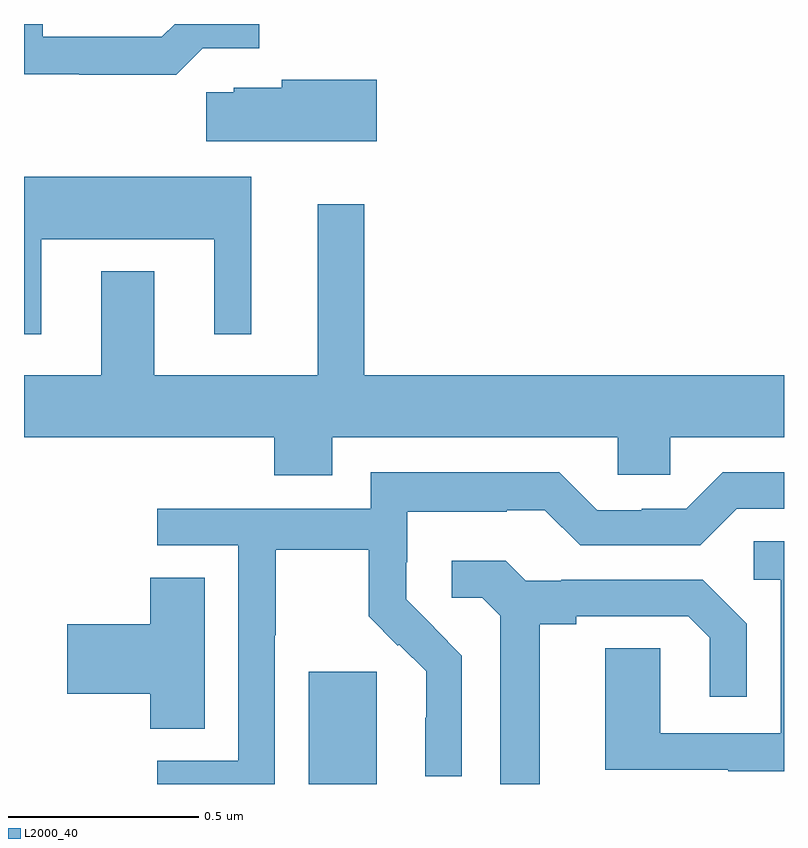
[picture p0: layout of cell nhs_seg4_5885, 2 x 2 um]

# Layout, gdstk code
import gdstk
lib = gdstk.Library(unit=1e-6, precision=1e-09)
def R(c, l, rs):  # rectangles x0, y0, x1, y1
    for r in rs: c.add(gdstk.rectangle(r[:2], r[2:], *l))
def P(c, l, *ps):  # polygons
    for p in ps: c.add(gdstk.Polygon(p, *l))
L2000_40 = (2000, 40)

nhs_seg4_5885 = lib.new_cell('nhs_seg4_5885')
R(nhs_seg4_5885, L2000_40, [(183.749,803.9,183.928,804.195)])
P(nhs_seg4_5885, L2000_40, [(183.471,805.836),(183.619,805.836),(183.619,805.9),(183.397,805.9),(183.363,805.866),(183.049,805.866),(183.049,805.9),(183,805.9),(183,805.768),(183.145,805.768),(183.145,805.766),(183.401,805.766)],
  [(183.928,805.753),(183.678,805.753),(183.678,805.732),(183.552,805.732),(183.552,805.721),(183.48,805.721),(183.48,805.592),(183.928,805.592)],
  [(183.046,805.334),(183.5,805.334),(183.5,805.083),(183.598,805.083),(183.598,805.498),(183,805.498),(183,805.083),(183.046,805.083)],
  [(183.203,805.249),(183.203,804.976),(183,804.976),(183,804.812),(183.659,804.812),(183.659,804.713),(183.811,804.713),(183.811,804.812),(184.563,804.812),(184.563,804.714),(184.701,804.714),(184.701,804.812),(185,804.812),(185,804.976),(183.895,804.976),(183.895,805.426),(183.773,805.426),(183.773,804.976),(183.343,804.976),(183.343,805.249)],
  [(183.66,804.292),(183.663,804.292),(183.663,804.516),(183.907,804.516),(183.907,804.341),(183.984,804.264),(183.987,804.267),(184.058,804.197),(184.058,804.074),(184.056,804.074),(184.056,803.92),(184.152,803.92),(184.152,804.238),(184.079,804.311),(184.08,804.312),(184.006,804.386),(184.006,804.483),(184.008,804.483),(184.008,804.617),(184.271,804.617),(184.271,804.621),(184.371,804.621),(184.464,804.528),(184.779,804.528),(184.875,804.624),(185,804.624),(185,804.72),(184.839,804.72),(184.743,804.624),(184.625,804.624),(184.625,804.621),(184.509,804.621),(184.409,804.721),(183.912,804.721),(183.912,804.624),(183.351,804.624),(183.351,804.528),(183.564,804.528),(183.564,803.961),(183.351,803.961),(183.351,803.9),(183.66,803.9)],
  [(185,804.539),(184.92,804.539),(184.92,804.438),(184.992,804.438),(184.992,804.033),(184.674,804.033),(184.674,804.257),(184.529,804.257),(184.529,803.937),(184.853,803.937),(184.853,803.933),(185,803.933)],
  [(184.357,804.32),(184.453,804.32),(184.453,804.342),(184.748,804.342),(184.805,804.285),(184.805,804.129),(184.902,804.129),(184.902,804.322),(184.786,804.438),(184.414,804.438),(184.414,804.435),(184.32,804.435),(184.268,804.487),(184.125,804.487),(184.125,804.39),(184.206,804.39),(184.253,804.343),(184.253,803.9),(184.357,803.9)],
  [(183.475,804.443),(183.332,804.443),(183.332,804.32),(183.114,804.32),(183.114,804.137),(183.332,804.137),(183.332,804.046),(183.475,804.046)])

lib.write_gds('nhs_seg4_5885.gds')
